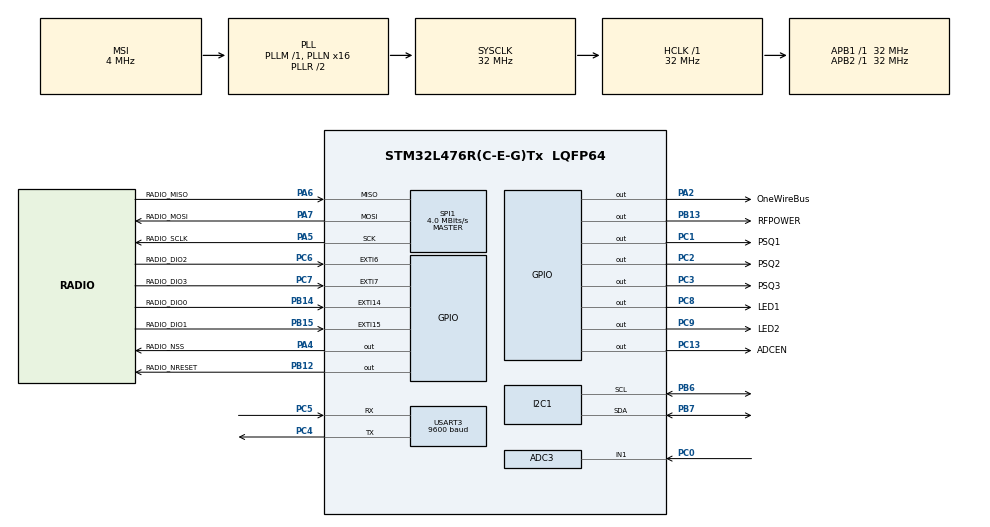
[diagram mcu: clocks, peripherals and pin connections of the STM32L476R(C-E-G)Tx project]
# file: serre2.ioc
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ADC3.Channel-0\#ChannelRegularConversion=ADC_CHANNEL_1
ADC3.NbrOfConversionFlag=1
ADC3.OffsetNumber-0\#ChannelRegularConversion=ADC_OFFSET_NONE
ADC3.Rank-0\#ChannelRegularConversion=1
ADC3.SamplingTime-0\#ChannelRegularConversion=ADC_SAMPLETIME_2CYCLES_5
I2C1.Timing=0x00707CBB
Mcu.Family=STM32L4
Mcu.Name=STM32L476R(C-E-G)Tx
Mcu.Package=LQFP64
NVIC.EXTI15_10_IRQn=true\:0\:0\:false\:false\:true
NVIC.EXTI9_5_IRQn=true\:0\:0\:false\:false\:true
NVIC.PriorityGroup=NVIC_PRIORITYGROUP_4
NVIC.RTC_Alarm_IRQn=true\:0\:0\:false\:false\:true
NVIC.USART3_IRQn=true\:0\:0\:false\:false\:true
PA13.Mode=JTAG_5_pins
PA13.Signal=SYS_JTMS-SWDIO
PA14.Mode=JTAG_5_pins
PA14.Signal=SYS_JTCK-SWCLK
PA15.Mode=JTAG_5_pins
PA15.Signal=SYS_JTDI
PA2.GPIO_Label=OneWireBus
PA2.GPIO_PuPd=GPIO_PULLUP
PA2.GPIO_Speed=GPIO_SPEED_FREQ_HIGH
PA2.PinState=GPIO_PIN_SET
PA2.Signal=GPIO_Output
PA4.GPIO_Label=RADIO_NSS
PA4.PinState=GPIO_PIN_SET
PA4.Signal=GPIO_Output
PA5.GPIO_Label=RADIO_SCLK
PA5.Mode=Full_Duplex_Master
PA5.Signal=SPI1_SCK
PA6.GPIO_Label=RADIO_MISO
PA6.Mode=Full_Duplex_Master
PA6.Signal=SPI1_MISO
PA7.GPIO_Label=RADIO_MOSI
PA7.Mode=Full_Duplex_Master
PA7.Signal=SPI1_MOSI
PB12.GPIO_Label=RADIO_NRESET
PB12.PinState=GPIO_PIN_SET
PB12.Signal=GPIO_Output
PB13.GPIO_Label=RFPOWER
PB13.PinState=GPIO_PIN_SET
PB13.Signal=GPIO_Output
PB14.GPIO_Label=RADIO_DIO0
PB14.Signal=GPXTI14
PB15.GPIO_Label=RADIO_DIO1
PB15.Signal=GPXTI15
PB3.Mode=JTAG_5_pins
PB3.Signal=SYS_JTDO-SWO
PB4.Mode=JTAG_5_pins
PB4.Signal=SYS_JTRST
PB6.Mode=I2C
PB6.Signal=I2C1_SCL
PB7.Mode=I2C
PB7.Signal=I2C1_SDA
PC0.Signal=ADCx_IN1
PC1.GPIO_Label=PSQ1
PC1.PinState=GPIO_PIN_SET
PC1.Signal=GPIO_Output
PC13.GPIO_Label=ADCEN
PC13.PinState=GPIO_PIN_SET
PC13.Signal=GPIO_Output
PC14/OSC32_IN.Mode=LSE-External-Oscillator
PC14/OSC32_IN.Signal=RCC_OSC32_IN
PC15/OSC32_OUT.Mode=LSE-External-Oscillator
PC15/OSC32_OUT.Signal=RCC_OSC32_OUT
PC2.GPIO_Label=PSQ2
PC2.PinState=GPIO_PIN_SET
PC2.Signal=GPIO_Output
PC3.GPIO_Label=PSQ3
PC3.PinState=GPIO_PIN_SET
PC3.Signal=GPIO_Output
PC4.Mode=Asynchronous
PC4.Signal=USART3_TX
PC5.Mode=Asynchronous
PC5.Signal=USART3_RX
PC6.GPIO_Label=RADIO_DIO2
PC6.Signal=GPXTI6
PC7.GPIO_Label=RADIO_DIO3
PC7.Signal=GPXTI7
PC8.GPIO_Label=LED1
PC8.Signal=GPIO_Output
PC9.GPIO_Label=LED2
PC9.Signal=GPIO_Output
ProjectManager.HeapSize=0x200
ProjectManager.StackSize=0x400
ProjectManager.TargetToolchain=SW4STM32
RCC.ADCFreq_Value=32000000
RCC.AHBFreq_Value=32000000
RCC.APB1Freq_Value=32000000
RCC.APB1TimFreq_Value=32000000
RCC.APB2Freq_Value=32000000
RCC.APB2TimFreq_Value=32000000
RCC.CortexFreq_Value=32000000
RCC.HCLKFreq_Value=32000000
RCC.HSE_VALUE=8000000
RCC.HSI_VALUE=16000000
RCC.MSI_VALUE=4000000
RCC.PLLN=16
RCC.PLLSAI1N=16
RCC.RTCClockSelection=RCC_RTCCLKSOURCE_LSE
RCC.SYSCLKFreq_VALUE=32000000
RCC.SYSCLKSource=RCC_SYSCLKSOURCE_PLLCLK
RCC.USBFreq_Value=32000000
RCC.VCOOutputFreq_Value=64000000
RTC.Alarm-Alarm\ A=RTC_ALARM_A
RTC.AsynchPrediv=31
RTC.Format=RTC_FORMAT_BIN
RTC.SynchPrediv=1023
SH.ADCx_IN1.0=ADC3_IN1,IN1-Single-Ended
SPI1.BaudRatePrescaler=SPI_BAUDRATEPRESCALER_8
SPI1.CalculateBaudRate=4.0 MBits/s
SPI1.DataSize=SPI_DATASIZE_8BIT
SPI1.Direction=SPI_DIRECTION_2LINES
SPI1.Mode=SPI_MODE_MASTER
SPI1.VirtualType=VM_MASTER
USART3.BaudRate=9600
USART3.VirtualMode-Asynchronous=VM_ASYNC
USART3.WordLength=WORDLENGTH_8B
VP_RTC_VS_RTC_Activate.Mode=RTC_Enabled
VP_RTC_VS_RTC_Alarm_A_Intern.Mode=Alarm A
VP_RTC_VS_RTC_Calendar.Mode=RTC_Calendar
board=serre2

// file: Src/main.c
/**
  ******************************************************************************
  * File Name          : main.c
  * Description        : Main program body
  ******************************************************************************
  *
  * COPYRIGHT(c) 2017 STMicroelectronics
  *
  * Redistribution and use in source and binary forms, with or without modification,
  * are permitted provided that the following conditions are met:
  *   1. Redistributions of source code must retain the above copyright notice,
  *      this list of conditions and the following disclaimer.
  *   2. Redistributions in binary form must reproduce the above copyright notice,
  *      this list of conditions and the following disclaimer in the documentation
  *      and/or other materials provided with the distribution.
  *   3. Neither the name of STMicroelectronics nor the names of its contributors
  *      may be used to endorse or promote products derived from this software
  *      without specific prior written permission.
  *
  * THIS SOFTWARE IS PROVIDED BY THE COPYRIGHT HOLDERS AND CONTRIBUTORS "AS IS"
  * AND ANY EXPRESS OR IMPLIED WARRANTIES, INCLUDING, BUT NOT LIMITED TO, THE
  * IMPLIED WARRANTIES OF MERCHANTABILITY AND FITNESS FOR A PARTICULAR PURPOSE ARE
  * DISCLAIMED. IN NO EVENT SHALL THE COPYRIGHT HOLDER OR CONTRIBUTORS BE LIABLE
  * FOR ANY DIRECT, INDIRECT, INCIDENTAL, SPECIAL, EXEMPLARY, OR CONSEQUENTIAL
  * DAMAGES (INCLUDING, BUT NOT LIMITED TO, PROCUREMENT OF SUBSTITUTE GOODS OR
  * SERVICES; LOSS OF USE, DATA, OR PROFITS; OR BUSINESS INTERRUPTION) HOWEVER
  * CAUSED AND ON ANY THEORY OF LIABILITY, WHETHER IN CONTRACT, STRICT LIABILITY,
  * OR TORT (INCLUDING NEGLIGENCE OR OTHERWISE) ARISING IN ANY WAY OUT OF THE USE
  * OF THIS SOFTWARE, EVEN IF ADVISED OF THE POSSIBILITY OF SUCH DAMAGE.
  *
  ******************************************************************************
  */
#include "main.h"
#include "stm32l4xx_hal.h"
#include "adc.h"
#include "i2c.h"
#include "rtc.h"
#include "spi.h"
#include "usart.h"
#include "gpio.h"

/* USER CODE BEGIN Includes */

#include "version.h"
#include "OneWire/OneWire_C.h"
#include "DsThermometer/DsThermometer_C.h"
#include "SHT2x/SHT2x.h"
#include "Vbat/Vbat.h"
#include "BH1750/BH1750c.h"
#include "crc32/crc32.h"
#include "timeServer.h"
#include "radio.h"
#include "vcom.h"
#include "lora.h"
#include "hw.h"

#define NODE_ID 4
#define GATEWAY 100

/*!
 * Defines the application data transmission duty cycle. 5s, value in [ms].
 */
#define APP_TX_DUTYCYCLE                            60000
/*!
 * LoRaWAN Adaptive Data Rate
 * @note Please note that when ADR is enabled the end-device should be static
 */
#define LORAWAN_ADR_ON                              0
/*!
 * LoRaWAN confirmed messages
 */
#define LORAWAN_CONFIRMED_MSG                    ENABLE
/*!
 * LoRaWAN application port
 * @note do not use 224. It is reserved for certification
 */
#define LORAWAN_APP_PORT							1

/* USER CODE END Includes */

/* USER CODE BEGIN PV */
/* Private variables ---------------------------------------------------------*/

extern RTC_HandleTypeDef RtcHandle;
extern RTC_HandleTypeDef hrtc;

/* call back when LoRa will transmit a frame*/
static void LoraTxData( lora_AppData_t *AppData, FunctionalState* IsTxConfirmed);

/* call back when LoRa has received a frame*/
static void LoraRxData( lora_AppData_t *AppData);

/* load call backs*/
static LoRaMainCallback_t LoRaMainCallbacks ={ HW_GetBatteryLevel,
                                               HW_GetUniqueId,
                                               HW_GetRandomSeed,
                                               LoraTxData,
                                               LoraRxData};

/*!
 * Specifies the state of the application LED
 */
static uint8_t AppLedStateOn = RESET;

/* !
 *Initialises the Lora Parameters
 */
static  LoRaParam_t LoRaParamInit= {TX_ON_TIMER,
                                    APP_TX_DUTYCYCLE,
                                    CLASS_A,
                                    LORAWAN_ADR_ON,
									DR_5,
                                    LORAWAN_PUBLIC_NETWORK };

/* USER CODE END PV */

void SystemClock_Config(void);
void Error_Handler(void);

/* USER CODE BEGIN PFP */
/* Private function prototypes -----------------------------------------------*/

/* USER CODE END PFP */

/* USER CODE BEGIN 0 */

void fai()
{}

TimerEvent_t wakeup;
extern TimerEvent_t TxTimeoutTimer;

static void OnWakeup( void )
{
	TimerStop( &wakeup );
	PRINTF("OnWakeup\n");
//	HAL_GPIO_TogglePin(LED2_GPIO_Port, LED2_Pin);
//	HAL_GPIO_TogglePin(LED1_GPIO_Port, LED1_Pin);
//	HAL_Delay(5000); //delay
//	HAL_GPIO_TogglePin(LED2_GPIO_Port, LED2_Pin);
//  TimerInit( &wakeup, OnWakeup );
//	TimerSetValue( &wakeup, 2500 );
//	TimerStart( &wakeup );
}

/* USER CODE END 0 */

int main(void)
{

  /* USER CODE BEGIN 1 */

	uint32_t del = 0;

  /* USER CODE END 1 */

  /* MCU Configuration----------------------------------------------------------*/

  /* Reset of all peripherals, Initializes the Flash interface and the Systick. */
  HAL_Init();

  /* Configure the system clock */
  SystemClock_Config();

  /* Initialize all configured peripherals */
  MX_GPIO_Init();
  MX_USART3_UART_Init();
  MX_I2C1_Init();
  MX_RTC_Init();
  MX_SPI1_Init();
  MX_ADC3_Init();

  /* USER CODE BEGIN 2 */

//  HAL_GPIO_WritePin(RFPOWER_GPIO_Port, RFPOWER_Pin, GPIO_PIN_RESET);
//  HAL_GPIO_WritePin(RADIO_NRESET_GPIO_Port, RADIO_NRESET_Pin, GPIO_PIN_SET);

  HAL_GPIO_WritePin(LED2_GPIO_Port, LED2_Pin, GPIO_PIN_SET);
  uint64_t a=0,b=0;
  while(a++<10000000)
	  while(b++<1000000);
  HAL_GPIO_WritePin(LED2_GPIO_Port, LED2_Pin, GPIO_PIN_RESET);

  //inizializza il cpu clock counter
  if (!(CoreDebug->DEMCR & CoreDebug_DEMCR_TRCENA_Msk))
  {
      CoreDebug->DEMCR |= CoreDebug_DEMCR_TRCENA_Msk;
      DWT->CYCCNT = 0;
      DWT->CTRL |= DWT_CTRL_CYCCNTENA_Msk;
  }

  /* Configure the hardware*/
  HW_Init( );

//  hrtc = RtcHandle;

//  HAL_GPIO_WritePin(LED2_GPIO_Port, LED2_Pin, GPIO_PIN_SET);
//  HAL_Delay(5000);
//  HAL_GPIO_WritePin(LED2_GPIO_Port, LED2_Pin, GPIO_PIN_RESET);

//  HAL_GPIO_WritePin(RADIO_NRESET_GPIO_Port, RADIO_NRESET_Pin, GPIO_PIN_RESET);
//  HAL_GPIO_WritePin(RFPOWER_GPIO_Port, RFPOWER_Pin, GPIO_PIN_SET);

//    lora_Init( &LoRaMainCallbacks, &LoRaParamInit);

//    PRINTF("VERSION: %X\n", VERSION);

//	TimerInit( &wakeup, OnWakeup );
//	TimerSetValue( &wakeup, 2500 );
//	TimerStart( &wakeup );

  /* USER CODE END 2 */

  /* Infinite loop */
  /* USER CODE BEGIN WHILE */
  while (1)
  {
	  /* run the LoRa class A state machine*/
//	  lora_fsm( );

		HOneWire _wire;
		HOneWire* wire;
		//handle bus OneWire
		_wire = owCreateHandle(OneWireBus_GPIO_Port, OneWireBus_Pin);
		wire = &_wire;
		owBegin(wire);

		//Test termometro
		dsSearchResult sr = dsSearchThermometers(wire);
		HDsThermometer _ds = dsCreateHandle(wire, sr.devices[0]);
		dsDeleteSearchResult(&sr);
		HDsThermometer* ds = &_ds;
		dsBegin(ds);
		float dtemp = 0;
		dsGetTemperature(ds, &dtemp);
		dsRequestTemperature(ds);
		dsGetTemperature(ds, &dtemp);

		BH1750 luxMeter;
		//crea handle luxMeter. Lo collega all'indirizzo basso
		luxMeter = BH1750_CreateHandle(&hi2c1, BH1750_LOW_ADDRESS);
		//inizializza la periferica in CONTINUOUS_HIGH_RES_MODE_1
		BH1750_Begin(luxMeter, CONTINUOUS_HIGH_RES_MODE_1);
		HAL_Delay(10);

		uint16_t vbat = 0;
		vbat = getVbat(hadc3);

		uint16_t sT, sH;
		float   temperatureC, humidityH;           //variable for temperature[°C] as float
		uint8_t  error = 0;              //variable for error code. For codes see system.h
		error |= SHT2x_MeasureHM(TEMP, &sT);
		temperatureC = SHT2x_CalcTemperatureC(sT);
		error |= SHT2x_MeasureHM(HUMIDITY, &sH);
		humidityH = SHT2x_CalcRH(sH);

		uint16_t lux = BH1750_ReadLightLevel(luxMeter);

		char b[100]={'\0'};
		uint8_t blen = 0;
		RadioEvents_t re;
		re.TxDone = fai;
		re.RxDone = fai;
		re.RxError = fai;
		re.TxTimeout = fai;
		re.RxTimeout = fai;
		Radio.Init( &re );
		Radio.SetChannel( 868000000 );

		b[0]=GATEWAY;
		b[1]=NODE_ID;
		b[2]=GATEWAY;
		b[3]=0;
		b[4]='\0';

		memcpy(&b[4], &temperatureC, 4);
		memcpy(&b[8], &humidityH, 4);
		memcpy(&b[12], &dtemp, 4);
		memcpy(&b[16], &lux, 2);
		memcpy(&b[18], &vbat, 2);
		blen = 16 + 4;

		uint32_t crc = crc32(0, &b[4], blen - 4);
		memcpy(&b[blen], &crc, 4);
		blen += 4;

		HAL_GPIO_TogglePin(LED1_GPIO_Port, LED1_Pin);

		HAL_Delay(2000);
		Radio.SetTxConfig( MODEM_LORA, 20, 0, 0, 7, 1, 8, false, true, 0, 0, false, 2000 );
		Radio.Send( b, blen );
		HAL_Delay(2000);

	  PRINTF("Prima \n");

	  // random delay

	  del =  ( (uint32_t) ((temperatureC + humidityH + del) * 100 ) ) % 20;
	  if (del<0 || del>20)
		  del = 0;

  /* USER CODE END WHILE */

  /* USER CODE BEGIN 3 */

//	  HAL_GPIO_WritePin(RFPOWER_GPIO_Port, RFPOWER_Pin, GPIO_PIN_SET);

	TimerInit( &wakeup, OnWakeup );
	TimerSetValue( &wakeup, 5000 + (del * 1000) );
	TimerStart( &wakeup );

	DISABLE_IRQ( );
//    if ( lora_getDeviceState( ) == DEVICE_STATE_SLEEP )
//    {
	  LowPower_Handler( );
//    }
	ENABLE_IRQ();

	HAL_GPIO_TogglePin(LED1_GPIO_Port, LED1_Pin);

	TimerInit( &wakeup, OnWakeup );
	TimerSetValue( &wakeup, 180000 );
	TimerStart( &wakeup );

	DISABLE_IRQ( );
//    if ( lora_getDeviceState( ) == DEVICE_STATE_SLEEP )
//    {
		  LowPower_Handler( );
//    }
	ENABLE_IRQ();

//	  HAL_GPIO_TogglePin(LED1_GPIO_Port, LED1_Pin);
//	  HAL_Delay(5000);
	  PRINTF("Dopo \n");

//	  NVIC_SystemReset();
  }
  /* USER CODE END 3 */

}

/** System Clock Configuration
*/
void SystemClock_Config(void)
{

  RCC_OscInitTypeDef RCC_OscInitStruct;
  RCC_ClkInitTypeDef RCC_ClkInitStruct;
  RCC_PeriphCLKInitTypeDef PeriphClkInit;

    /**Initializes the CPU, AHB and APB busses clocks
    */
  RCC_OscInitStruct.OscillatorType = RCC_OSCILLATORTYPE_LSE|RCC_OSCILLATORTYPE_MSI;
  RCC_OscInitStruct.LSEState = RCC_LSE_ON;
  RCC_OscInitStruct.MSIState = RCC_MSI_ON;
  RCC_OscInitStruct.MSICalibrationValue = 0;
  RCC_OscInitStruct.MSIClockRange = RCC_MSIRANGE_6;
  RCC_OscInitStruct.PLL.PLLState = RCC_PLL_ON;
  RCC_OscInitStruct.PLL.PLLSource = RCC_PLLSOURCE_MSI;
  RCC_OscInitStruct.PLL.PLLM = 1;
  RCC_OscInitStruct.PLL.PLLN = 16;
  RCC_OscInitStruct.PLL.PLLP = RCC_PLLP_DIV7;
  RCC_OscInitStruct.PLL.PLLQ = RCC_PLLQ_DIV2;
  RCC_OscInitStruct.PLL.PLLR = RCC_PLLR_DIV2;
  if (HAL_RCC_OscConfig(&RCC_OscInitStruct) != HAL_OK)
  {
    Error_Handler();
  }

    /**Initializes the CPU, AHB and APB busses clocks
    */
  RCC_ClkInitStruct.ClockType = RCC_CLOCKTYPE_HCLK|RCC_CLOCKTYPE_SYSCLK
                              |RCC_CLOCKTYPE_PCLK1|RCC_CLOCKTYPE_PCLK2;
  RCC_ClkInitStruct.SYSCLKSource = RCC_SYSCLKSOURCE_PLLCLK;
  RCC_ClkInitStruct.AHBCLKDivider = RCC_SYSCLK_DIV1;
  RCC_ClkInitStruct.APB1CLKDivider = RCC_HCLK_DIV1;
  RCC_ClkInitStruct.APB2CLKDivider = RCC_HCLK_DIV1;

  if (HAL_RCC_ClockConfig(&RCC_ClkInitStruct, FLASH_LATENCY_1) != HAL_OK)
  {
    Error_Handler();
  }

  PeriphClkInit.PeriphClockSelection = RCC_PERIPHCLK_RTC|RCC_PERIPHCLK_USART3
                              |RCC_PERIPHCLK_I2C1|RCC_PERIPHCLK_ADC;
  PeriphClkInit.Usart3ClockSelection = RCC_USART3CLKSOURCE_PCLK1;
  PeriphClkInit.I2c1ClockSelection = RCC_I2C1CLKSOURCE_PCLK1;
  PeriphClkInit.AdcClockSelection = RCC_ADCCLKSOURCE_PLLSAI1;
  PeriphClkInit.RTCClockSelection = RCC_RTCCLKSOURCE_LSE;
  PeriphClkInit.PLLSAI1.PLLSAI1Source = RCC_PLLSOURCE_MSI;
  PeriphClkInit.PLLSAI1.PLLSAI1M = 1;
  PeriphClkInit.PLLSAI1.PLLSAI1N = 16;
  PeriphClkInit.PLLSAI1.PLLSAI1P = RCC_PLLP_DIV7;
  PeriphClkInit.PLLSAI1.PLLSAI1Q = RCC_PLLQ_DIV2;
  PeriphClkInit.PLLSAI1.PLLSAI1R = RCC_PLLR_DIV2;
  PeriphClkInit.PLLSAI1.PLLSAI1ClockOut = RCC_PLLSAI1_ADC1CLK;
  if (HAL_RCCEx_PeriphCLKConfig(&PeriphClkInit) != HAL_OK)
  {
    Error_Handler();
  }

    /**Configure LSE Drive Capability
    */
  __HAL_RCC_LSEDRIVE_CONFIG(RCC_LSEDRIVE_LOW);

    /**Configure the main internal regulator output voltage
    */
  if (HAL_PWREx_ControlVoltageScaling(PWR_REGULATOR_VOLTAGE_SCALE1) != HAL_OK)
  {
    Error_Handler();
  }

    /**Configure the Systick interrupt time
    */
//  HAL_SYSTICK_Config(HAL_RCC_GetHCLKFreq()/1000);

    /**Configure the Systick
    */
  HAL_SYSTICK_CLKSourceConfig(SYSTICK_CLKSOURCE_HCLK);

    /**Enable MSI Auto calibration
    */
  HAL_RCCEx_EnableMSIPLLMode();

  /* SysTick_IRQn interrupt configuration */
  HAL_NVIC_SetPriority(SysTick_IRQn, 0, 0);
}

/* USER CODE BEGIN 4 */

static void LoraTxData( lora_AppData_t *AppData, FunctionalState* IsTxConfirmed)
{
  uint8_t batteryLevel;

  uint32_t i = 0;

  batteryLevel = HW_GetBatteryLevel( );                     /* 1 (very low) to 254 (fully charged) */

  AppData->Port = LORAWAN_APP_PORT;

  *IsTxConfirmed =  LORAWAN_CONFIRMED_MSG;

	char word[20];
//	error |= SHT2x_MeasureHM(TEMP, &sT);
//	temperatureC = SHT2x_CalcTemperatureC(sT);
//	int d1 = temperatureC;
//	float f2 = temperatureC - d1;
//	int d2 = trunc(f2 * 10000);
//	sprintf(word,"%d.%04d", d1, d2);
//	for(i = 0; i<strlen(word); i++){
//	sprintf(Buffer+i*2, "%02X", word[i]);
//	}
//	PRINTF("%s\n", Buffer);
    sprintf(word,"ciao");
	strcpy(AppData->Buff, word);
	PRINTF("%s\n", AppData->Buff);

//  AppData->Buff[i++] = 'c';
//  AppData->Buff[i++] = 'i';
//  AppData->Buff[i++] = 'a';
//  AppData->Buff[i++] = 'o';
//  AppData->Buff[i++] = ' ';
//  AppData->Buff[i++] = 'm';
//  AppData->Buff[i++] = 'o';
//  AppData->Buff[i++] = 'n';
//  AppData->Buff[i++] = 'd';
//  AppData->Buff[i++] = 'o';

  AppData->BuffSize = strlen(AppData->Buff);
}

static void LoraRxData( lora_AppData_t *AppData )
{
  switch (AppData->Port)
  {
  case LORAWAN_APP_PORT:
	  for(int i=0; i<AppData->BuffSize; i++)
		  PRINTF("%c", (char)(AppData->Buff[i]));
    break;
  default:
    break;
  }
}

/* USER CODE END 4 */

void Error_Handler(void)
{
  while(1)
  {
  }
}

/************************ (C) COPYRIGHT STMicroelectronics *****END OF FILE****/
